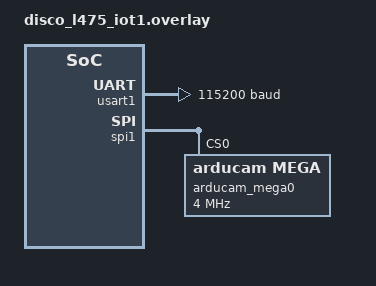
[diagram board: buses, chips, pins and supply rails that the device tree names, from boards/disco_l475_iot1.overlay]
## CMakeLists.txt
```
# SPDX-License-Identifier: Apache-2.0

cmake_minimum_required(VERSION 3.20.0)

set(BOARD disco_l475_iot1)
find_package(Zephyr REQUIRED HINTS $ENV{ZEPHYR_BASE})
project(medicam)

option(USE_UART "Enable UART communication" OFF)
option(USE_WIFI "Enable Wi-Fi communication" OFF)

if(USE_UART AND USE_WIFI)
    message(
        FATAL_ERROR
        "Cannot enable both USE_UART and USE_WIFI at the same time."
    )
endif()

if(NOT USE_UART AND NOT USE_WIFI)
    message(STATUS "No communication option selected, defaulting to UART.")
    set(USE_UART ON)
endif()

set(app_sources src/main.c src/camera.c)

if(USE_UART)
    add_definitions(-DUSE_UART)
    list(APPEND app_sources src/uart.c)
endif()

if(USE_WIFI)
    add_definitions(-DUSE_WIFI)
    list(APPEND app_sources src/wifi.c)
endif()

target_sources(app PRIVATE ${app_sources})
target_include_directories(app PRIVATE include)
```

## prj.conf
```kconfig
CONFIG_PRINTK=y
CONFIG_LOG=y
CONFIG_SERIAL=y

CONFIG_SPI=y
CONFIG_VIDEO=y
CONFIG_VIDEO_INIT_PRIORITY=72
CONFIG_VIDEO_BUFFER_POOL_SZ_MAX=2048
CONFIG_VIDEO_BUFFER_POOL_NUM_MAX=3

CONFIG_NETWORKING=y
CONFIG_NET_IPV4=y
CONFIG_NET_TCP=y
CONFIG_NET_SOCKETS=y
CONFIG_NET_SOCKETS_POSIX_NAMES=y

CONFIG_NET_DHCPV4=y

CONFIG_WIFI=y
CONFIG_WIFI_ESWIFI=y

CONFIG_MAIN_STACK_SIZE=2048
```

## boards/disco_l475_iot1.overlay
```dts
&usart1{
	current-speed = <115200>;
};

&spi1 {
	arducam_mega0:arducam-mega0@0 {
		compatible = "arducam,mega";
		reg = <0>;
		spi-max-frequency = <4000000>;
		status = "okay";
	};
};
```

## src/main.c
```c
/**
 * SPDX-License-Identifier: Apache-2.0
 */

#include "camera.h"

#ifdef USE_UART

#include "uart.h"

#elif defined(USE_WIFI)

#include "wifi.h"

#endif

#include <zephyr/logging/log.h>

#define LOG_LEVEL CONFIG_LOG_DEFAULT_LEVEL
LOG_MODULE_REGISTER(main);

int main(void)
{
	int buff_len = 256;
	if (camera_setup() < 0) {
		return -1;
	}

#ifdef USE_UART

	if (uart_setup() < 0) {
		return -1;
	}

	uart_main_loop(camera_recv_process, buff_len);

#elif defined(USE_WIFI)

	if (wifi_setup() < 0) {
		return -1;
	}

	if (tcp_setup() < 0) {
		return -1;
	}

	tcp_main_loop(camera_recv_process, buff_len);

#endif

	// Infinite Loop
	while (1) {
	}

	return 0;
}
```

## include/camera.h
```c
#include <stdint.h>

uint8_t camera_recv_process(uint8_t *buff);
int camera_setup(void);
```

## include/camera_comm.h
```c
#include <stdint.h>

void camera_char_send(char out_char);
void camera_buffer_send(uint8_t *buffer, uint32_t length);
```

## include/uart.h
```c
#include <stdint.h>

int uart_setup(void);
void uart_main_loop(uint8_t (*callback)(uint8_t *buffer), int buff_len);
```

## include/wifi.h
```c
#include <stdint.h>

#define SERVER_IP   "192.168.29.67"
#define SERVER_PORT 8080

#define WIFI_SSID "MySSID"
#define WIFI_PSK  "MyPasswd"

int wifi_setup(void);
int tcp_setup(void);
void tcp_main_loop(uint8_t (*callback)(uint8_t *buffer), int buff_len);
```

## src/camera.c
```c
#include "camera.h"
#include "camera_comm.h"

#include <zephyr/device.h>
#include <zephyr/drivers/video.h>
#include <zephyr/drivers/video/arducam_mega.h>
#include <zephyr/logging/log.h>

LOG_MODULE_DECLARE(main);

#define RESET_CAMERA             0XFF
#define SET_PICTURE_RESOLUTION   0X01
#define SET_BRIGHTNESS           0X03
#define SET_CONTRAST             0X04
#define SET_SATURATION           0X05
#define SET_EV                   0X06
#define SET_WHITEBALANCE         0X07
#define SET_SPECIAL_EFFECTS      0X08
#define SET_FOCUS_ENABLE         0X09
#define SET_EXPOSURE_GAIN_ENABLE 0X0A
#define SET_WHITE_BALANCE_ENABLE 0X0C
#define SET_MANUAL_GAIN          0X0D
#define SET_MANUAL_EXPOSURE      0X0E
#define GET_CAMERA_INFO          0X0F
#define TAKE_PICTURE             0X10
#define SET_SHARPNESS            0X11
#define DEBUG_WRITE_REGISTER     0X12
#define GET_FRM_VER_INFO         0X30
#define GET_SDK_VER_INFO         0X40
#define SET_IMAGE_QUALITY        0X50
#define SET_LOWPOWER_MODE        0X60

const struct device *video;
struct video_buffer *vbuf;

const uint32_t pixel_format_table[] = {
	VIDEO_PIX_FMT_JPEG,
	VIDEO_PIX_FMT_RGB565,
	VIDEO_PIX_FMT_YUYV,
};

const uint16_t resolution_table[][2] = {
	{160, 120},  {320, 240},   {640, 480},   {800, 600},   {1280, 720},
	{1280, 960}, {1600, 1200}, {1920, 1080}, {2048, 1536}, {2592, 1944},
	{96, 96},    {128, 128},   {320, 320},
};

const uint8_t resolution_num = sizeof(resolution_table) / 4;

static uint8_t current_resolution;
static uint8_t take_picture_fmt = 0x1a;

static uint8_t head_and_tail[] = {0xff, 0xaa, 0x00, 0xff, 0xbb};

void camera_packet_send(uint8_t type, uint8_t *buffer, uint32_t length)
{
	head_and_tail[2] = type;
	camera_buffer_send(&head_and_tail[0], 3);
	camera_buffer_send((uint8_t *)&length, 4);
	camera_buffer_send(buffer, length);
	camera_buffer_send(&head_and_tail[3], 2);
}

int camera_set_resolution(uint8_t sfmt)
{
	uint8_t resolution = sfmt & 0x0f;
	uint8_t pixelformat = (sfmt & 0x70) >> 4;

	if (resolution > resolution_num || pixelformat > 3) {
		return -1;
	}
	struct video_format fmt = {.width = resolution_table[resolution][0],
				   .height = resolution_table[resolution][1],
				   .pixelformat = pixel_format_table[pixelformat - 1]};
	current_resolution = resolution;
	return video_set_format(video, VIDEO_EP_OUT, &fmt);
}

int camera_take_picture(void)
{
	int err;
	enum video_frame_fragmented_status f_status;

	err = video_dequeue(video, VIDEO_EP_OUT, &vbuf, K_FOREVER);
	if (err) {
		LOG_ERR("Unable to dequeue video buf");
		return -1;
	}

	f_status = vbuf->flags;

	head_and_tail[2] = 0x01;
	camera_buffer_send(&head_and_tail[0], 3);
	camera_buffer_send((uint8_t *)&vbuf->bytesframe, 4);
	camera_char_send(((current_resolution & 0x0f) << 4) | 0x01);

	camera_buffer_send(vbuf->buffer, vbuf->bytesused);

	video_enqueue(video, VIDEO_EP_OUT, vbuf);
	while (f_status == VIDEO_BUF_FRAG) {
		video_dequeue(video, VIDEO_EP_OUT, &vbuf, K_FOREVER);
		f_status = vbuf->flags;
		camera_buffer_send(vbuf->buffer, vbuf->bytesused);
		video_enqueue(video, VIDEO_EP_OUT, vbuf);
	}
	camera_buffer_send(&head_and_tail[3], 2);

	return 0;
}

int camera_report_info(void)
{
	char str_buf[400];
	uint32_t str_len;
	char *mega_type;
	struct arducam_mega_info mega_info;

	video_get_ctrl(video, VIDEO_CID_ARDUCAM_INFO, &mega_info);

	switch (mega_info.camera_id) {
	case ARDUCAM_SENSOR_3MP_1:
	case ARDUCAM_SENSOR_3MP_2:
		mega_type = "3MP";
		break;
	case ARDUCAM_SENSOR_5MP_1:
		mega_type = "5MP";
		break;
	case ARDUCAM_SENSOR_5MP_2:
		mega_type = "5MP_2";
		break;
	default:
		return -ENODEV;
	}

	sprintf(str_buf,
		"ReportCameraInfo\r\nCamera Type:%s\r\n"
		"Camera Support Resolution:%d\r\nCamera Support "
		"special effects:%d\r\nCamera Support Focus:%d\r\n"
		"Camera Exposure Value Max:%ld\r\nCamera Exposure Value "
		"Min:%d\r\nCamera Gain Value Max:%d\r\nCamera Gain Value "
		"Min:%d\r\nCamera Support Sharpness:%d\r\n",
		mega_type, mega_info.support_resolution, mega_info.support_special_effects,
		mega_info.enable_focus, mega_info.exposure_value_max, mega_info.exposure_value_min,
		mega_info.gain_value_max, mega_info.gain_value_min, mega_info.enable_sharpness);
	str_len = strlen(str_buf);
	camera_packet_send(0x02, str_buf, str_len);
	return 0;
}

uint8_t camera_recv_process(uint8_t *buff)
{
	uint16_t gain_value;
	uint32_t exposure_value;

	switch (buff[0]) {
	case SET_PICTURE_RESOLUTION:
		if (camera_set_resolution(buff[1]) == 0) {
			take_picture_fmt = buff[1];
		}
		break;
	case SET_BRIGHTNESS:
		video_set_ctrl(video, VIDEO_CID_CAMERA_BRIGHTNESS, &buff[1]);
		break;
	case SET_CONTRAST:
		video_set_ctrl(video, VIDEO_CID_CAMERA_CONTRAST, &buff[1]);
		break;
	case SET_SATURATION:
		video_set_ctrl(video, VIDEO_CID_CAMERA_SATURATION, &buff[1]);
		break;
	case SET_EV:
		video_set_ctrl(video, VIDEO_CID_ARDUCAM_EV, &buff[1]);
		break;
	case SET_WHITEBALANCE:
		video_set_ctrl(video, VIDEO_CID_CAMERA_WHITE_BAL, &buff[1]);
		break;
	case SET_SPECIAL_EFFECTS:
		video_set_ctrl(video, VIDEO_CID_ARDUCAM_COLOR_FX, &buff[1]);
		break;
	case SET_EXPOSURE_GAIN_ENABLE:
		video_set_ctrl(video, VIDEO_CID_CAMERA_EXPOSURE_AUTO, &buff[1]);
		video_set_ctrl(video, VIDEO_CID_CAMERA_GAIN_AUTO, &buff[1]);
		break;
	case SET_WHITE_BALANCE_ENABLE:
		video_set_ctrl(video, VIDEO_CID_CAMERA_WHITE_BAL_AUTO, &buff[1]);
		break;
	case SET_SHARPNESS:
		video_set_ctrl(video, VIDEO_CID_ARDUCAM_SHARPNESS, &buff[1]);
		break;
	case SET_MANUAL_GAIN:
		gain_value = (buff[1] << 8) | buff[2];
		video_set_ctrl(video, VIDEO_CID_CAMERA_GAIN, &gain_value);
		break;
	case SET_MANUAL_EXPOSURE:
		exposure_value = (buff[1] << 16) | (buff[2] << 8) | buff[3];
		video_set_ctrl(video, VIDEO_CID_CAMERA_EXPOSURE, &exposure_value);
		break;
	case GET_CAMERA_INFO:
		camera_report_info();
		break;
	case TAKE_PICTURE:
		video_stream_start(video);
		camera_take_picture();
		video_stream_stop(video);
		break;
	case RESET_CAMERA:
		video_set_ctrl(video, VIDEO_CID_ARDUCAM_RESET, NULL);
		break;
	case SET_IMAGE_QUALITY:
		video_set_ctrl(video, VIDEO_CID_JPEG_COMPRESSION_QUALITY, &buff[1]);
		break;
	case SET_LOWPOWER_MODE:
		video_set_ctrl(video, VIDEO_CID_ARDUCAM_LOWPOWER, &buff[1]);
		break;
	default:
		break;
	}
	return buff[0];
}
int camera_setup(void)
{
	struct video_buffer *buffers[3];
	int i = 0;
	video = DEVICE_DT_GET(DT_NODELABEL(arducam_mega0));
	if (!device_is_ready(video)) {
		LOG_ERR("Video device %s not ready.", video->name);
		return -1;
	}
	for (i = 0; i < ARRAY_SIZE(buffers); i++) {
		buffers[i] = video_buffer_alloc(1024);
		if (buffers[i] == NULL) {
			LOG_ERR("Unable to alloc video buffer");
			return -1;
		}
		video_enqueue(video, VIDEO_EP_OUT, buffers[i]);
	}
	LOG_INF("Mega start");
	LOG_INF("- Device name: %s\n", video->name);
	return 0;
}
```

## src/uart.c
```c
#include "camera_comm.h"
#include "uart.h"

#include <zephyr/kernel.h>
#include <zephyr/device.h>
#include <zephyr/drivers/uart.h>
#include <zephyr/logging/log.h>

LOG_MODULE_DECLARE(main);

#define MSG_SIZE 12
K_MSGQ_DEFINE(uart_msgq, MSG_SIZE, 10, 4);

const struct device *console;

void serial_cb(const struct device *dev, void *user_data);

void camera_char_send(char out_char)
{
	uart_poll_out(console, out_char);
}

void camera_buffer_send(uint8_t *buffer, uint32_t length)
{
	for (uint32_t i = 0; i < length; i++) {
		uart_poll_out(console, buffer[i]);
	}
}

uint8_t uart_available(uint8_t *p)
{
	return k_msgq_get(&uart_msgq, p, K_NO_WAIT);
}

int uart_setup(void)
{
	console = DEVICE_DT_GET(DT_CHOSEN(zephyr_console));
	if (!device_is_ready(console)) {
		LOG_ERR("%s: device not ready.", console->name);
		return -1;
	}
	uart_irq_callback_user_data_set(console, serial_cb, NULL);
	uart_irq_rx_enable(console);

	return 0;
}

void uart_main_loop(uint8_t (*callback)(uint8_t *buffer), int buff_len)
{
	uint8_t recv_buffer[256] = {0};

	while (1) {
		if (!uart_available(recv_buffer)) {
			callback(recv_buffer);
		}
		k_msleep(1);
	}
}

static char rx_buf[MSG_SIZE];
static int rx_buf_pos;

void serial_cb(const struct device *dev, void *user_data)
{
	uint8_t c;

	if (!uart_irq_update(dev)) {
		return;
	}

	if (!uart_irq_rx_ready(dev)) {
		return;
	}

	while (uart_fifo_read(dev, &c, 1) == 1) {
		if (c == 0xAA && rx_buf_pos > 0) {
			k_msgq_put(&uart_msgq, &rx_buf, K_NO_WAIT);
			rx_buf_pos = 0;
		} else if (c == 0x55) {
			rx_buf_pos = 0;
		} else {
			rx_buf[rx_buf_pos] = c;
			if (++rx_buf_pos >= MSG_SIZE) {
				rx_buf_pos = 0;
			}
		}
	}
}
```

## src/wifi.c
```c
#include "camera_comm.h"
#include "wifi.h"

#include <zephyr/net/socket.h>
#include <zephyr/net/wifi_mgmt.h>
#include <zephyr/logging/log.h>

LOG_MODULE_DECLARE(main);

int sock;

void camera_char_send(char out_char)
{
	send(sock, &out_char, 1, 0);
}

void camera_buffer_send(uint8_t *buffer, uint32_t length)
{
	send(sock, buffer, length, 0);
}

int wifi_setup(void)
{
	struct net_if *iface = net_if_get_default();
	struct wifi_connect_req_params cnx = {0};

	cnx.ssid = (uint8_t *)WIFI_SSID;
	cnx.ssid_length = strlen(WIFI_SSID);
	cnx.psk = (uint8_t *)WIFI_PSK;
	cnx.psk_length = strlen(WIFI_PSK);
	cnx.security = WIFI_SECURITY_TYPE_PSK;
	cnx.band = WIFI_FREQ_BAND_2_4_GHZ;
	cnx.channel = 0;
	cnx.timeout = SYS_FOREVER_MS;

	if (net_mgmt(NET_REQUEST_WIFI_CONNECT, iface, &cnx, sizeof(cnx))) {
		LOG_ERR("Wi-Fi connect request failed.");
		return -1;
	}

	LOG_INF("Wi-Fi connection Successful.");

	return 0;
}

int tcp_setup()
{
	struct sockaddr_in addr;

	sock = socket(AF_INET, SOCK_STREAM, IPPROTO_TCP);
	if (sock < 0) {
		LOG_ERR("Socket creation failed");
		return -1;
	}

	addr.sin_family = AF_INET;
	addr.sin_port = htons(SERVER_PORT);
	net_addr_pton(AF_INET, SERVER_IP, &addr.sin_addr);

	LOG_INF("Connecting to %s:%d...", SERVER_IP, SERVER_PORT);
	if (connect(sock, (struct sockaddr *)&addr, sizeof(addr)) < 0) {
		close(sock);
		LOG_ERR("Connection to Server Failed.");
		return -1;
	}

	LOG_INF("Connected to %s:%d!.", SERVER_IP, SERVER_PORT);
	return 0;
}

void tcp_main_loop(uint8_t (*callback)(uint8_t *buffer), int buff_len)
{
	uint8_t recv_buffer[256] = {0};

	while (1) {
		int len = recv(sock, recv_buffer, sizeof(recv_buffer) - 1, 0);
		if (len > 0) {
			callback(recv_buffer);
		} else if (len == 0) {
			LOG_ERR("Server closed the connection.");
			break;
		} else {
			LOG_ERR("recv() error: %d", errno);
			break;
		}
	}

	close(sock);
	LOG_INF("Disconnected.");
}
```
